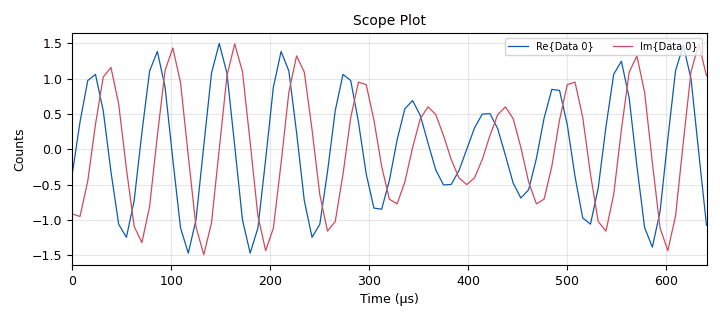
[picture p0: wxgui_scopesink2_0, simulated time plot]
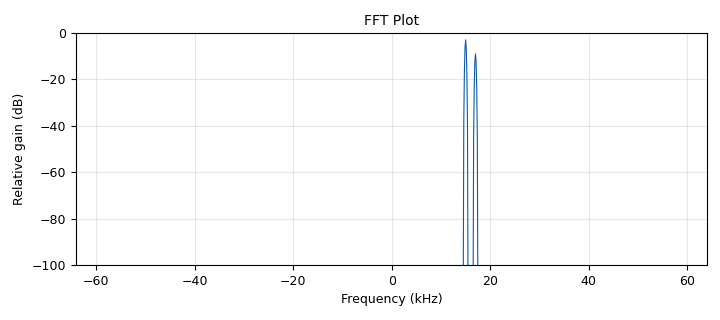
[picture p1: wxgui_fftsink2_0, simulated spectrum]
<?xml version='1.0' encoding='utf-8'?>
<flow_graph>
<block>
<key>options</key>
<param><key>id</key><value>top_block</value></param>
<param><key>generate_options</key><value>wx_gui</value></param>
<param><key>category</key><value>Custom</value></param>
</block>
<block>
<key>variable</key>
<param><key>id</key><value>samp_rate</value></param>
<param><key>value</key><value>128000</value></param>
</block>
<block>
<key>blocks_multiply_const_vxx</key>
<param><key>id</key><value>blocks_multiply_const_vxx_0</value></param>
<param><key>type</key><value>complex</value></param>
<param><key>const</key><value>0.5</value></param>
</block>
<block>
<key>blocks_add_const_vxx</key>
<param><key>id</key><value>blocks_add_const_vxx_0</value></param>
<param><key>type</key><value>complex</value></param>
<param><key>const</key><value>1</value></param>
</block>
<block>
<key>analog_sig_source_x</key>
<param><key>id</key><value>ct</value></param>
<param><key>type</key><value>complex</value></param>
<param><key>samp_rate</key><value>samp_rate</value></param>
<param><key>waveform</key><value>analog.GR_COS_WAVE</value></param>
<param><key>freq</key><value>15000</value></param>
<param><key>amp</key><value>1</value></param>
<param><key>offset</key><value>0</value></param>
</block>
<block>
<key>analog_sig_source_x</key>
<param><key>id</key><value>mt</value></param>
<param><key>type</key><value>complex</value></param>
<param><key>samp_rate</key><value>samp_rate</value></param>
<param><key>waveform</key><value>analog.GR_COS_WAVE</value></param>
<param><key>freq</key><value>2000</value></param>
<param><key>amp</key><value>1</value></param>
<param><key>offset</key><value>0</value></param>
</block>
<block>
<key>wxgui_scopesink2</key>
<param><key>id</key><value>wxgui_scopesink2_0</value></param>
<param><key>type</key><value>complex</value></param>
<param><key>title</key><value>Scope Plot</value></param>
<param><key>samp_rate</key><value>samp_rate</value></param>
<param><key>v_scale</key><value>0</value></param>
<param><key>v_offset</key><value>0</value></param>
<param><key>t_scale</key><value>0</value></param>
<param><key>ac_couple</key><value>False</value></param>
<param><key>xy_mode</key><value>False</value></param>
<param><key>num_inputs</key><value>1</value></param>
<param><key>trig_mode</key><value>wxgui.TRIG_MODE_AUTO</value></param>
<param><key>y_axis_label</key><value>Counts</value></param>
</block>
<block>
<key>wxgui_fftsink2</key>
<param><key>id</key><value>wxgui_fftsink2_0</value></param>
<param><key>type</key><value>complex</value></param>
<param><key>title</key><value>FFT Plot</value></param>
<param><key>samp_rate</key><value>samp_rate</value></param>
<param><key>baseband_freq</key><value>0</value></param>
<param><key>y_per_div</key><value>10</value></param>
<param><key>y_divs</key><value>10</value></param>
<param><key>ref_level</key><value>0</value></param>
<param><key>ref_scale</key><value>2.0</value></param>
<param><key>fft_size</key><value>1024</value></param>
<param><key>fft_rate</key><value>15</value></param>
<param><key>peak_hold</key><value>False</value></param>
<param><key>average</key><value>False</value></param>
<param><key>avg_alpha</key><value>0</value></param>
<param><key>win</key><value>None</value></param>
<param><key>freqvar</key><value>None</value></param>
</block>
<block>
<key>uhd_usrp_sink</key>
<param><key>id</key><value>uhd_usrp_sink_0</value></param>
<param><key>type</key><value>fc32</value></param>
<param><key>dev_args</key><value>""</value></param>
<param><key>sync</key><value></value></param>
<param><key>clock_rate</key><value>0.0</value></param>
<param><key>samp_rate</key><value>samp_rate</value></param>
<param><key>center_freq0</key><value>470e6</value></param>
<param><key>gain0</key><value>0</value></param>
<param><key>ant0</key><value>TX/RX</value></param>
<param><key>len_tag_name</key><value></value></param>
</block>
<block>
<key>blocks_multiply_xx</key>
<param><key>id</key><value>blocks_multiply_xx_0_0</value></param>
<param><key>type</key><value>complex</value></param>
</block>
<connection><source_block_id>mt</source_block_id><sink_block_id>blocks_multiply_const_vxx_0</sink_block_id><source_key>0</source_key><sink_key>0</sink_key></connection>
<connection><source_block_id>blocks_multiply_const_vxx_0</source_block_id><sink_block_id>blocks_add_const_vxx_0</sink_block_id><source_key>0</source_key><sink_key>0</sink_key></connection>
<connection><source_block_id>blocks_add_const_vxx_0</source_block_id><sink_block_id>blocks_multiply_xx_0_0</sink_block_id><source_key>0</source_key><sink_key>0</sink_key></connection>
<connection><source_block_id>ct</source_block_id><sink_block_id>blocks_multiply_xx_0_0</sink_block_id><source_key>0</source_key><sink_key>1</sink_key></connection>
<connection><source_block_id>blocks_multiply_xx_0_0</source_block_id><sink_block_id>uhd_usrp_sink_0</sink_block_id><source_key>0</source_key><sink_key>0</sink_key></connection>
<connection><source_block_id>blocks_multiply_xx_0_0</source_block_id><sink_block_id>wxgui_scopesink2_0</sink_block_id><source_key>0</source_key><sink_key>0</sink_key></connection>
<connection><source_block_id>blocks_multiply_xx_0_0</source_block_id><sink_block_id>wxgui_fftsink2_0</sink_block_id><source_key>0</source_key><sink_key>0</sink_key></connection>
</flow_graph>
